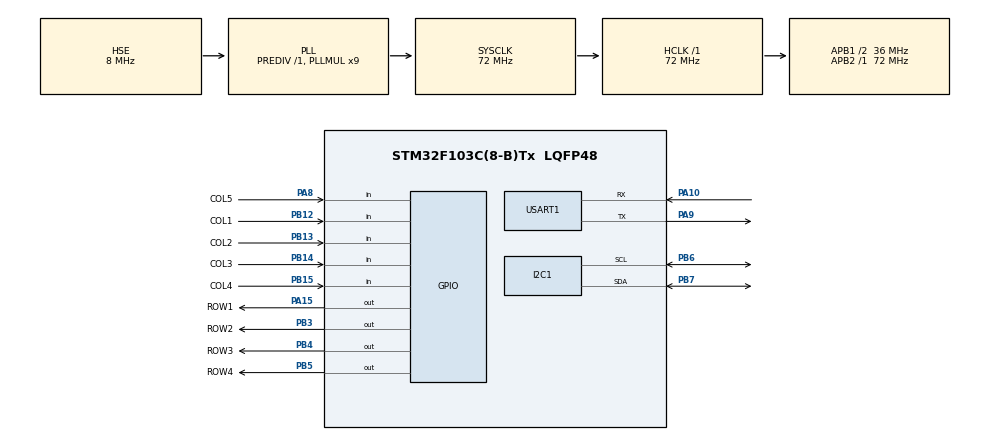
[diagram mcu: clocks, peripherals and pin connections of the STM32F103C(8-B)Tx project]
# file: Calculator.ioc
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Mcu.Family=STM32F1
Mcu.Name=STM32F103C(8-B)Tx
Mcu.Package=LQFP48
NVIC.PriorityGroup=NVIC_PRIORITYGROUP_4
PA10.Mode=Asynchronous
PA10.Signal=USART1_RX
PA13.Mode=Serial_Wire
PA13.Signal=SYS_JTMS-SWDIO
PA14.Mode=Serial_Wire
PA14.Signal=SYS_JTCK-SWCLK
PA15.GPIO_Label=ROW1
PA15.Signal=GPIO_Output
PA8.GPIO_Label=COL5
PA8.GPIO_PuPd=GPIO_PULLUP
PA8.Signal=GPIO_Input
PA9.Mode=Asynchronous
PA9.Signal=USART1_TX
PB12.GPIO_Label=COL1
PB12.GPIO_PuPd=GPIO_PULLUP
PB12.Signal=GPIO_Input
PB13.GPIO_Label=COL2
PB13.GPIO_PuPd=GPIO_PULLUP
PB13.Signal=GPIO_Input
PB14.GPIO_Label=COL3
PB14.GPIO_PuPd=GPIO_PULLUP
PB14.Signal=GPIO_Input
PB15.GPIO_Label=COL4
PB15.GPIO_PuPd=GPIO_PULLUP
PB15.Signal=GPIO_Input
PB3.GPIO_Label=ROW2
PB3.Signal=GPIO_Output
PB4.GPIO_Label=ROW3
PB4.Signal=GPIO_Output
PB5.GPIO_Label=ROW4
PB5.Signal=GPIO_Output
PB6.Mode=I2C
PB6.Signal=I2C1_SCL
PB7.Mode=I2C
PB7.Signal=I2C1_SDA
PD0-OSC_IN.Mode=HSE-External-Oscillator
PD0-OSC_IN.Signal=RCC_OSC_IN
PD1-OSC_OUT.Mode=HSE-External-Oscillator
PD1-OSC_OUT.Signal=RCC_OSC_OUT
ProjectManager.HeapSize=0x200
ProjectManager.StackSize=0x400
ProjectManager.TargetToolchain=MDK-ARM V5.32
RCC.AHBFreq_Value=72000000
RCC.APB1CLKDivider=RCC_HCLK_DIV2
RCC.APB1Freq_Value=36000000
RCC.APB1TimFreq_Value=72000000
RCC.APB2Freq_Value=72000000
RCC.APB2TimFreq_Value=72000000
RCC.HCLKFreq_Value=72000000
RCC.PLLMUL=RCC_PLL_MUL9
RCC.PLLSourceVirtual=RCC_PLLSOURCE_HSE
RCC.SYSCLKFreq_VALUE=72000000
RCC.SYSCLKSource=RCC_SYSCLKSOURCE_PLLCLK
RCC.USBFreq_Value=72000000
USART1.VirtualMode=VM_ASYNC
board=custom

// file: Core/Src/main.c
/* USER CODE BEGIN Header */
/**
  ******************************************************************************
  * @file           : main.c
  * @brief          : Main program body
  ******************************************************************************
  * @attention
  *
  * Copyright (c) 2025 STMicroelectronics.
  * All rights reserved.
  *
  * This software is licensed under terms that can be found in the LICENSE file
  * in the root directory of this software component.
  * If no LICENSE file comes with this software, it is provided AS-IS.
  *
  ******************************************************************************
  */
/* USER CODE END Header */
#include "main.h"

I2C_HandleTypeDef hi2c1;

UART_HandleTypeDef huart1;

void SystemClock_Config(void);
static void MX_GPIO_Init(void);
static void MX_I2C1_Init(void);
static void MX_USART1_UART_Init(void);

/* USER CODE BEGIN 0 */
#include <i2c-lcd.h>
#include <Button_matrix.h>
#include <string.h>
#include <stdlib.h>
#include <stdarg.h>
#include <ctype.h>

#define EXPR_LEN 64	// max  len of expression

Matrix_Pin_Typedef rowS[4] = {
	{GPIOA, GPIO_PIN_15}, // ROW 1 - 4
	{GPIOB, GPIO_PIN_3},
	{GPIOB, GPIO_PIN_4},
	{GPIOB, GPIO_PIN_5},
};

Matrix_Pin_Typedef colS[5] = {
	{GPIOB, GPIO_PIN_12}, // col 1 - 4
	{GPIOB, GPIO_PIN_13},
	{GPIOB, GPIO_PIN_14},
	{GPIOB, GPIO_PIN_15},
	{GPIOA, GPIO_PIN_8},
};

Matrix_Typedef mMatrix = {
	.num_row = 4,
	.num_col = 5,
	.row_pins = rowS,
	.col_pins = colS
};

const char* keymap[21] = {
	"",
	"%", "7", "8", "9", "/",
    "+/-", "4", "5", "6", "x",
    "C", "1", "2", "3", "-",
    "AC", "0", ".", "=", "+"
};

char buffer_display[32] = "";
char buffer_operand[32] = "";

float operand_A = 0;
float operand_B = 0;

char current_operand = '\0';

float result = 0;
char result_str[32];
float last_result = 0;
uint8_t is_continue_cal = 0;
float percentage = 0;

char buff_uart[40];

//====when pressing "="  ==========
char buffer_root_expr[EXPR_LEN]; // save root mathematical expression
uint8_t is_error = 0;
//========predence handle==============

void Print_uart(const char*format,...)
{
	for(uint8_t i=0; i<40; i++)
	{
		buff_uart[i] = 0;
	}
	va_list args;
	va_start(args, format);
	vsnprintf(buff_uart, sizeof(buff_uart), format, args);
	va_end(args);
	HAL_UART_Transmit(&huart1, (uint8_t*)buff_uart, 40, 1000);
}

void Send_message(char *str)
{
	lcd_goto_XY(1,0);
	lcd_send_string(str);
}

float Perform_plus(float num_a, float num_b)
{
	return num_a + num_b;
}

float Perform_minus(float num_a, float num_b)
{
	return num_a - num_b;
}

float Perform_multiply(float num_a, float num_b)
{
	return num_a * num_b;
}

float Perform_divide(float num_a, float num_b, uint8_t *is_error)
{
	if (num_b == 0.0f)
	{
		*is_error = 1;
		return 0.0f;
	}
	*is_error = 0;
	float result = num_a / num_b;
	return result;
}

float Perform_cal(float num_a, float num_b, char operand)
{
	switch(operand)
	{
		case '+':
			return num_a + num_b;
		case '-':
			return num_a - num_b;
		case 'x':
			return num_a * num_b;
		case '/':
			if(num_b != 0)
			{
				is_error = 0;
				return num_a/num_b;
			}
			else
			{
				is_error = 1;
				return 0;
			}
	}
	return 0;
}

uint8_t Compare_predence(char operand)
{
	if(operand == 'x' || operand == '/') return 2;
	if(operand == '+' || operand == '-') return 1;
	return 0;
}

float Predence_handle(const char *buffer_expr)
{
	float num_stack[32]; // save number to this stack
	char operand_stack[32];
	float num = 0;
	int num_top = -1; // blank
	int operand_top = -1; // blank

	for(int i=0; buffer_expr[i] != '\0'; i++)
	{
		// Duyet root buffer
		char c = buffer_expr[i];

		// neu c la so hoac dau .
		if((c >= '0' && c <= '9') || c == '.')
		{
			// doc het so, sau do luu vao temp (vd: 123.45)
			// gap toan tu (+ - x /) thi dung`
			char temp[16];
			int j = 0;
			while((buffer_expr[i] >= '0' && buffer_expr[i] <= '9') || buffer_expr[i] == '.')
			{
				// vd: 123.45 + 10 => temp = 123.45
				temp[j++] = buffer_expr[i++];
			}
			temp[j] = '\0';
			num = atof(temp); // convert to number
			num_stack[++num_top] = num; // add num to num_stack[0]
			i--;
		}
		else if(c == '+' || c == '-' || c == 'x' || c == '/')
		{
			// stack not blank && compare predence of top with current
			while(operand_top >= 0 && Compare_predence(operand_stack[operand_top]) >= Compare_predence(c))
			{
				float num_2 = num_stack[num_top--]; // newest number in number stack
				float num_1 = num_stack[num_top--];	// older (on the left) eg: [6,2] -> num_2 = 2, num_1 = 6
				char op = operand_stack[operand_top--]; // take higher predence operator
				num_stack[++num_top] = Perform_cal(num_1, num_2, op); // perform num_2 op num_1 and push result back to number stack
			}
			operand_stack[++operand_top] = c;
		}
	}
	while (operand_top >= 0)
	{
        float num_2 = num_stack[num_top--];
        float num_1 = num_stack[num_top--];
        char op = operand_stack[operand_top--];
        num_stack[++num_top] = Perform_cal(num_1, num_2, op);
    }
    return num_stack[num_top];
}

void Format_number(double val, char *buf, int8_t precision)
{
    sprintf(buf, "%.*f", precision, val);
    char *p = buf + strlen(buf) - 1; // point to last element
    // eg: 12345; p->5
    while(*p == '0' && p > buf) // delete zero (eg: 123.000 -> 123.)
    {
        *p = '\0';
        p--;
    }
    if(*p == '.')
    {
        *p = '\0';
    }
}

void Key_pressed_handle(const char *key)
{
	//===========number======================================
	if(strcmp(key, "0") == 0 || strcmp(key, "1") == 0 ||
	   strcmp(key, "2") == 0 || strcmp(key, "3") == 0 ||
	   strcmp(key, "4") == 0 || strcmp(key, "5") == 0 ||
	   strcmp(key, "6") == 0 || strcmp(key, "7") == 0 ||
	   strcmp(key, "8") == 0 || strcmp(key, "9") == 0 || strcmp(key, ".") == 0)
	{
		if(is_continue_cal)
		{
			strcpy(buffer_display, "");
			strcpy(buffer_operand, "");
			is_continue_cal = 0;
		}

		strcat(buffer_display, key);
		strcat(buffer_operand, key);
		strcat(buffer_root_expr, key); // concat to perform chain calculate

		lcd_goto_XY(0,0);
		lcd_send_string("               ");
		lcd_goto_XY(0,0);
		lcd_send_string(buffer_display);
	}
//============================operator========================================
	else if(strcmp(key, "+") == 0 || strcmp(key, "-") == 0 ||
			strcmp(key, "x") == 0 || strcmp(key, "/") == 0 )
	{
		if(is_continue_cal) // continue calculating after press = key
		{
			operand_A = last_result;
			sprintf(buffer_display, "%g", operand_A);
			is_continue_cal = 0;
			strcpy(buffer_operand, "");
		}
		else 	// perform from scratch
		{
			if(strlen(buffer_operand) > 0)
			{
				float val = atof(buffer_operand);
				if(current_operand == '\0') // first time press operator
				{
					operand_A = val;
				}
				else // if operator is existed
				{
					operand_B = val;
				}
//				sprintf(buffer_display, "%g", operand_A);
				strcpy(buffer_operand, "");
			}
		}
		current_operand = key[0];
		strcat(buffer_display, key);
		strcat(buffer_root_expr, key);

		lcd_goto_XY(0,0);
		lcd_send_string("               ");
		lcd_goto_XY(0,0);
		lcd_send_string(buffer_display);
	}

// ==================Negation key===================
else if(strcmp(key, "+/-") == 0)
{
    if(is_continue_cal)
    {
        // d?i d?u k?t qu? cu?i
        last_result = -last_result;
        sprintf(result_str, "%g", last_result);
        lcd_goto_XY(1,0);
        lcd_send_string("               ");
        lcd_goto_XY(1,0);
        lcd_send_string(result_str);
    }
    else
    {
        // d?i d?u s? dang nh?p
        if(strlen(buffer_operand) > 0)
        {
            float val = atof(buffer_operand);
            val = -val;
            sprintf(buffer_operand, "%g", val);

            // C?p nh?t l?i ph?n hi?n th?
            // Xóa ph?n cu?i cu c?a s? và thay b?ng s? m?i có d?u
            // Cách don gi?n nh?t: tính l?i hi?n th? toàn b?
            // ho?c (n?u b?n luu root_expr) thì c?p nh?t luôn trong dó
            // ? dây ta ch? s?a tr?c ti?p buffer_display:
            int len_disp = strlen(buffer_display);
            // Tìm v? trí b?t d?u c?a s? dang nh?p trong buffer_display
            // (di lùi d?n khi g?p toán t?)
            int pos = len_disp - 1;
            while(pos >= 0 && (isdigit(buffer_display[pos]) || buffer_display[pos] == '.' || buffer_display[pos] == '-'))
                pos--;
            buffer_display[pos+1] = '\0';
            strcat(buffer_display, buffer_operand);

            lcd_goto_XY(0,0);
            lcd_send_string("               ");
            lcd_goto_XY(0,0);
            lcd_send_string(buffer_display);
        }
    }
}

//================== calculate Percentage=================
	else if(strcmp(key, "%")==0)
	{
		percentage = (float)atof(buffer_operand);
		if (current_operand == '\0')
		{
			operand_A = percentage / 100.0f;
			sprintf(buffer_operand, "%g", operand_A);
			sprintf(buffer_display, "%g", operand_A);
		}
		else
		{
			if (current_operand == '+' || current_operand == '-')
			{
				operand_B = operand_A * (percentage / 100.0f);
			}
			else
			{
				operand_B = percentage / 100.0f;
			}

			sprintf(buffer_operand, "%g", operand_B);
			snprintf(buffer_display, sizeof(buffer_display), "%g%c%s", operand_A, current_operand, buffer_operand);
		}
		lcd_clear_display();
		lcd_goto_XY(0,0);
		Print_uart("buffer_display = [%s]\n", buffer_display);
		lcd_send_string(buffer_display);
	}

	else if(strcmp(key, "+/-") == 0)
	{

	}
//=======================calculate result ====================
	else if(strcmp(key, "=") == 0)
	{
		strcpy(buffer_root_expr, buffer_display);
		result = Predence_handle(buffer_root_expr);

		last_result = result;
		is_continue_cal = 1;

		strcpy(buffer_operand, ""); // clear buffer

		lcd_goto_XY(0,0);
		lcd_send_string("               ");
		lcd_goto_XY(0,0);
		lcd_send_string(buffer_display);

		if(is_error == 1)
		{
			Send_message("Syntax ERROR");
		}
		else
		{
			Format_number(result,result_str,12);
			lcd_goto_XY(1,0);
			lcd_send_string("               ");
			lcd_goto_XY(1,0);
			lcd_send_string(result_str);
		}
		current_operand = '\0';
	}

//	 clear handle
	else if(strcmp(key, "C") == 0)
	{
		uint8_t len_display = strlen(buffer_display);
		uint8_t len_operand = strlen(buffer_operand);
		if(len_display > 0)
		{
			buffer_display[len_display-1] = '\0';
		}
		if(len_operand > 0)
		{
			buffer_operand[len_operand-1] = '\0';
		}
		lcd_goto_XY(0,0);
		lcd_send_string("                "); // clear line 1
		lcd_goto_XY(0,0);
		lcd_send_string(buffer_display);
	}

	else if(strcmp(key, "AC")==0)
	{
		strcpy(buffer_operand, "");
		strcpy(buffer_display, "");
		strcpy(buffer_root_expr, "");

		operand_A = operand_B = last_result = 0;
		current_operand = '\0';
		lcd_clear_display();
	}
}

void Matrix_key_press_Callback(uint8_t key, KeyEvent_t key_event) // Callback
{
	if(key_event == KEY_PRESS)
	{
		if(key < 0 || key > 20) return;
		const char *key_pressed = keymap[key];
		Key_pressed_handle(key_pressed);
	}
}

/* USER CODE END 0 */

int main(void)
{

  /* MCU Configuration--------------------------------------------------------*/

  /* Reset of all peripherals, Initializes the Flash interface and the Systick. */
  HAL_Init();

  /* Configure the system clock */
  SystemClock_Config();

  /* Initialize all configured peripherals */
  MX_GPIO_Init();
  MX_I2C1_Init();
  MX_USART1_UART_Init();
  /* USER CODE BEGIN 2 */
	HAL_Delay(1000);
	lcd_init();
	lcd_goto_XY(0,1);
	lcd_send_string("Tran Ngoc Diep");
	lcd_goto_XY(1,2);
	lcd_send_string("Calculator");
	HAL_Delay(2000);
	lcd_clear_display();
  /* USER CODE END 2 */

  /* Infinite loop */
  while (1)
  {
	Matrix_handle(&mMatrix);
  }
}

void SystemClock_Config(void)
{
  RCC_OscInitTypeDef RCC_OscInitStruct = {0};
  RCC_ClkInitTypeDef RCC_ClkInitStruct = {0};

  /** Initializes the RCC Oscillators according to the specified parameters
  * in the RCC_OscInitTypeDef structure.
  */
  RCC_OscInitStruct.OscillatorType = RCC_OSCILLATORTYPE_HSE;
  RCC_OscInitStruct.HSEState = RCC_HSE_ON;
  RCC_OscInitStruct.HSEPredivValue = RCC_HSE_PREDIV_DIV1;
  RCC_OscInitStruct.HSIState = RCC_HSI_ON;
  RCC_OscInitStruct.PLL.PLLState = RCC_PLL_ON;
  RCC_OscInitStruct.PLL.PLLSource = RCC_PLLSOURCE_HSE;
  RCC_OscInitStruct.PLL.PLLMUL = RCC_PLL_MUL9;
  if (HAL_RCC_OscConfig(&RCC_OscInitStruct) != HAL_OK)
  {
    Error_Handler();
  }

  /** Initializes the CPU, AHB and APB buses clocks
  */
  RCC_ClkInitStruct.ClockType = RCC_CLOCKTYPE_HCLK|RCC_CLOCKTYPE_SYSCLK
                              |RCC_CLOCKTYPE_PCLK1|RCC_CLOCKTYPE_PCLK2;
  RCC_ClkInitStruct.SYSCLKSource = RCC_SYSCLKSOURCE_PLLCLK;
  RCC_ClkInitStruct.AHBCLKDivider = RCC_SYSCLK_DIV1;
  RCC_ClkInitStruct.APB1CLKDivider = RCC_HCLK_DIV2;
  RCC_ClkInitStruct.APB2CLKDivider = RCC_HCLK_DIV1;

  if (HAL_RCC_ClockConfig(&RCC_ClkInitStruct, FLASH_LATENCY_2) != HAL_OK)
  {
    Error_Handler();
  }
}

static void MX_I2C1_Init(void)
{

  hi2c1.Instance = I2C1;
  hi2c1.Init.ClockSpeed = 100000;
  hi2c1.Init.DutyCycle = I2C_DUTYCYCLE_2;
  hi2c1.Init.OwnAddress1 = 0;
  hi2c1.Init.AddressingMode = I2C_ADDRESSINGMODE_7BIT;
  hi2c1.Init.DualAddressMode = I2C_DUALADDRESS_DISABLE;
  hi2c1.Init.OwnAddress2 = 0;
  hi2c1.Init.GeneralCallMode = I2C_GENERALCALL_DISABLE;
  hi2c1.Init.NoStretchMode = I2C_NOSTRETCH_DISABLE;
  if (HAL_I2C_Init(&hi2c1) != HAL_OK)
  {
    Error_Handler();
  }

}

static void MX_USART1_UART_Init(void)
{

  huart1.Instance = USART1;
  huart1.Init.BaudRate = 115200;
  huart1.Init.WordLength = UART_WORDLENGTH_8B;
  huart1.Init.StopBits = UART_STOPBITS_1;
  huart1.Init.Parity = UART_PARITY_NONE;
  huart1.Init.Mode = UART_MODE_TX_RX;
  huart1.Init.HwFlowCtl = UART_HWCONTROL_NONE;
  huart1.Init.OverSampling = UART_OVERSAMPLING_16;
  if (HAL_UART_Init(&huart1) != HAL_OK)
  {
    Error_Handler();
  }

}

static void MX_GPIO_Init(void)
{
  GPIO_InitTypeDef GPIO_InitStruct = {0};

  /* GPIO Ports Clock Enable */
  __HAL_RCC_GPIOD_CLK_ENABLE();
  __HAL_RCC_GPIOB_CLK_ENABLE();
  __HAL_RCC_GPIOA_CLK_ENABLE();

  /*Configure GPIO pin Output Level */
  HAL_GPIO_WritePin(ROW1_GPIO_Port, ROW1_Pin, GPIO_PIN_RESET);

  /*Configure GPIO pin Output Level */
  HAL_GPIO_WritePin(GPIOB, ROW2_Pin|ROW3_Pin|ROW4_Pin, GPIO_PIN_RESET);

  /*Configure GPIO pins : COL1_Pin COL2_Pin COL3_Pin COL4_Pin */
  GPIO_InitStruct.Pin = COL1_Pin|COL2_Pin|COL3_Pin|COL4_Pin;
  GPIO_InitStruct.Mode = GPIO_MODE_INPUT;
  GPIO_InitStruct.Pull = GPIO_PULLUP;
  HAL_GPIO_Init(GPIOB, &GPIO_InitStruct);

  /*Configure GPIO pin : COL5_Pin */
  GPIO_InitStruct.Pin = COL5_Pin;
  GPIO_InitStruct.Mode = GPIO_MODE_INPUT;
  GPIO_InitStruct.Pull = GPIO_PULLUP;
  HAL_GPIO_Init(COL5_GPIO_Port, &GPIO_InitStruct);

  /*Configure GPIO pin : ROW1_Pin */
  GPIO_InitStruct.Pin = ROW1_Pin;
  GPIO_InitStruct.Mode = GPIO_MODE_OUTPUT_PP;
  GPIO_InitStruct.Pull = GPIO_NOPULL;
  GPIO_InitStruct.Speed = GPIO_SPEED_FREQ_LOW;
  HAL_GPIO_Init(ROW1_GPIO_Port, &GPIO_InitStruct);

  /*Configure GPIO pins : ROW2_Pin ROW3_Pin ROW4_Pin */
  GPIO_InitStruct.Pin = ROW2_Pin|ROW3_Pin|ROW4_Pin;
  GPIO_InitStruct.Mode = GPIO_MODE_OUTPUT_PP;
  GPIO_InitStruct.Pull = GPIO_NOPULL;
  GPIO_InitStruct.Speed = GPIO_SPEED_FREQ_LOW;
  HAL_GPIO_Init(GPIOB, &GPIO_InitStruct);

}

void Error_Handler(void)
{
  __disable_irq();
  while (1)
  {
  }
}
